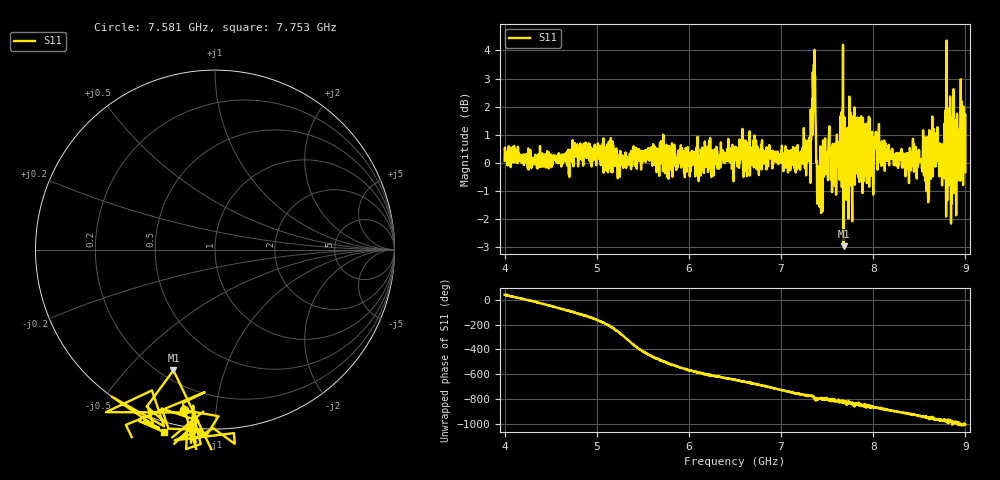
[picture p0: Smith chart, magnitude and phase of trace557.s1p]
! Created with skrf 1.8.0 (http://scikit-rf.org).
# Hz S RI R 50.0
!freq ReS11 ImS11
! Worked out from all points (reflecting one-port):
!   1601 points, 4 GHz to 9 GHz, reference 50 ohm
!   lowest |S11| = -3.0 dB at 7.678 GHz (marker M1), VSWR 5.93, Z = 12.5 - j34.2 ohm
!   phase of S11 starts at 42 deg and turns -1048 deg over the sweep
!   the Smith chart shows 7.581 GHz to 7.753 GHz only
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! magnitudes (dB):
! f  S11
! 4 GHz  0.1
! 4.625 GHz  0.2
! 5.25 GHz  -0.5
! 5.875 GHz  -0.2
! 6.5 GHz  0.3
! 7.125 GHz  0.2
! 7.294 GHz  0.1
! 7.347 GHz  2.6
! 7.362 GHz  4.0
! 7.409 GHz  -0.9
! 7.503 GHz  0.4
! 7.575 GHz  0.5
! 7.65 GHz  0.7
! 7.678 GHz  -3.0
! 7.703 GHz  -0.7
! 7.75 GHz  0.4
! 7.909 GHz  0.8
! 7.962 GHz  1.6
! 7.981 GHz  -0.5
! 8.038 GHz  0.7
! 8.375 GHz  -0.1
! 8.603 GHz  -1.3
! 8.656 GHz  1.2
! 8.769 GHz  0.5
! 8.816 GHz  -0.8
! 8.919 GHz  -0.2
! 8.959 GHz  2.2
! 9 GHz  -0.3
